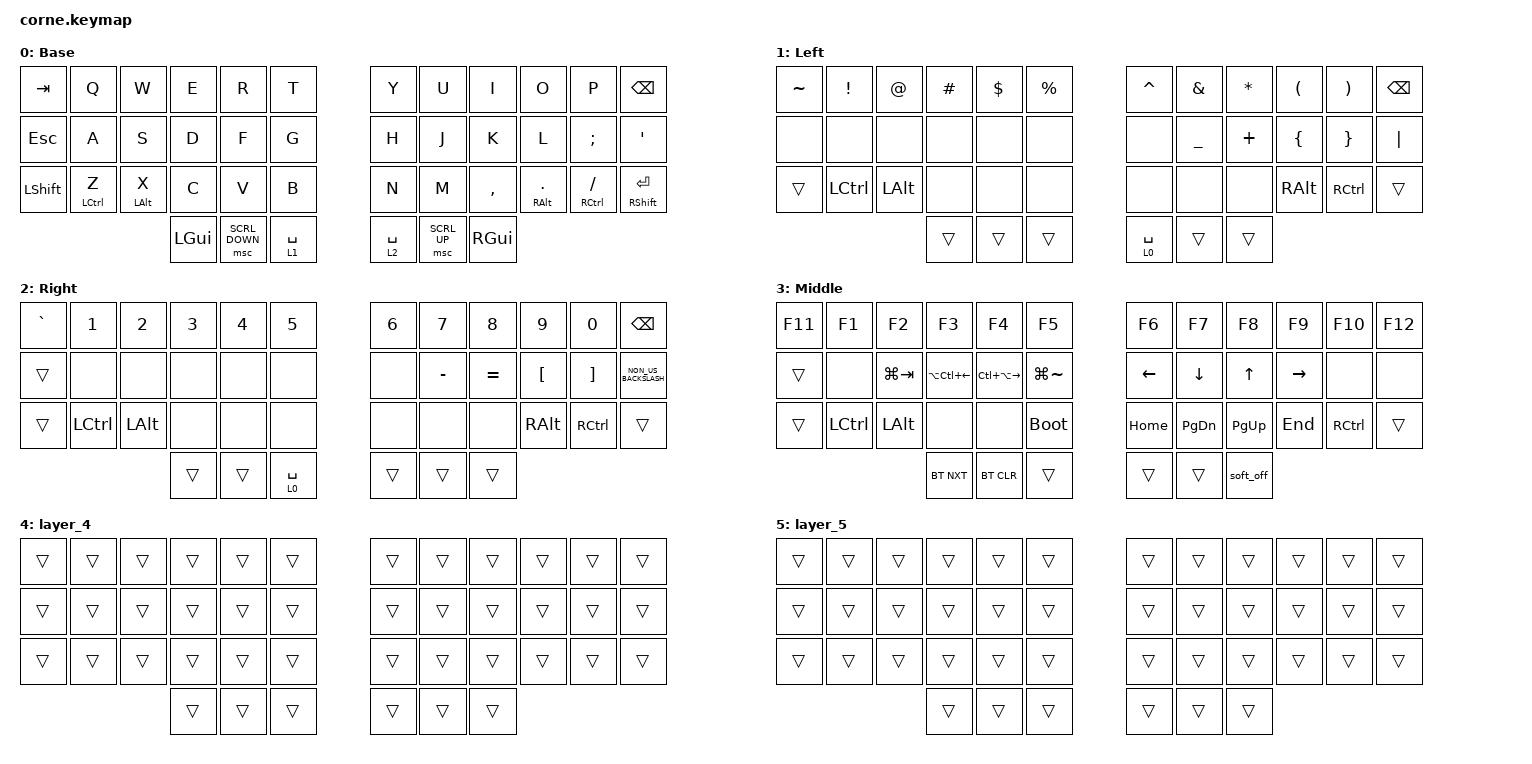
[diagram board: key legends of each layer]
/*
 * Copyright (c) 2020 The ZMK Contributors
 *
 * SPDX-License-Identifier: MIT
 */

#include <behaviors.dtsi>
#include <dt-bindings/zmk/bt.h>
#include <dt-bindings/zmk/keys.h>
#include <dt-bindings/zmk/pointing.h>

/ {
    behaviors {
        htp: hold_tap_preferred {
            compatible = "zmk,behavior-hold-tap";
            label = "HOLD_TAP_PREFERRED";
            bindings = <&kp>, <&kp>;

            #binding-cells = <2>;
            flavor = "tap-preferred";
            hold-while-undecided;
            tapping-term-ms = <200>;
        };
    };

    keymap {
        compatible = "zmk,keymap";

        default_layer {
            // -------------------------------------------------        -------------------------------------------------
            // |  TAB  |   Q   |   W   |   E   |   R   |   T   |        |   Y   |   U   |   I   |   O   |   P   | BKSP  |
            // |  ESC  |   A   |   S   |   D   |   F   |   G   |        |   H   |   J   |   K   |   L   |   ;   |   '   |
            // |  SFT  |CTRL/Z | ALT/X |   C   |   V   |   B   |        |   N   |   M   |   ,   | ALT/. |CTRL/\ |SFT/RET|
            //                |  LGUI  | SCRL_DOWN | LT1/SPACE |        | LT2/SPACE | SCRL_UP | RGUI |

            display-name = "Base";
            bindings = <
&kp TAB    &kp Q         &kp W            &kp E         &kp R           &kp T          &kp Y        &kp U         &kp I          &kp O                  &kp P             &kp BSPC
&kp ESC    &kp A         &kp S            &kp D         &kp F           &kp G          &kp H        &kp J         &kp K          &kp L                  &kp SEMI          &kp SQT
&kp LSHFT  &htp LCTRL Z  &htp LEFT_ALT X  &kp C         &kp V           &kp B          &kp N        &kp M         &kp COMMA      &htp RIGHT_ALT PERIOD  &htp RCTRL SLASH  &mt RIGHT_SHIFT RET
                                          &kp LEFT_GUI  &msc SCRL_DOWN  &lt 1 SPACE    &lt 2 SPACE  &msc SCRL_UP  &kp RIGHT_GUI
            >;
        };

        left_layer {
            // -------------------------------------------------        -------------------------------------------------
            // |  `~   |   !   |   @   |   #   |   $   |   %   |        |   ^   |   &   |   *   |   (   |   )   | BKSP  |
            // |       |       |       |       |       |       |        |       |   _   |   +   |   {   |   }   |  `|`  |
            // | TRANS | CTRL  |  ALT  |       |       |       |        |       |       |       |  ALT  | CTRL  | TRANS |
            //                         | TRANS | TRANS | TRANS |        | LT0/SPACE | TRANS | TRANS |

            display-name = "Left";
            bindings = <
&kp TILDE  &kp EXCL   &kp AT        &kp HASH  &kp DLLR  &kp PRCNT    &kp CARET    &kp AMPS   &kp ASTERISK  &kp LPAR          &kp RPAR           &kp BSPC
&none      &none      &none         &none     &none     &none        &none        &kp UNDER  &kp PLUS      &kp LEFT_BRACE    &kp RIGHT_BRACE    &kp PIPE
&trans     &kp LCTRL  &kp LEFT_ALT  &none     &none     &none        &none        &none      &none         &kp RIGHT_ALT     &kp RCTRL          &trans
                                    &trans    &trans    &trans       &lt 0 SPACE  &trans     &trans
            >;
        };

        right_layer {
            // -------------------------------------------------        -------------------------------------------------
            // |   `   |   1   |   2   |   3   |   4   |   5   |        |   6   |   7   |   8   |   9   |   0   | BKSP  |
            // | TRANS |       |       |       |       |       |        |       |   -   |   =   |   [   |   ]   |   \   |
            // | TRANS | CTRL  |  ALT  |       |       |       |        |       |       |       |  ALT  | CTRL  | TRANS |
            //                     | TRANS | TRANS | LT0/SPACE |        | TRANS | TRANS | TRANS |

            display-name = "Right";
            bindings = <
&kp GRAVE  &kp N1     &kp N2        &kp N3  &kp N4  &kp N5         &kp N6  &kp N7     &kp N8    &kp N9            &kp N0             &kp BSPC
&trans     &none      &none         &none   &none   &none          &none   &kp MINUS  &kp EQUAL &kp LEFT_BRACKET  &kp RIGHT_BRACKET  &kp NON_US_BACKSLASH
&trans     &kp LCTRL  &kp LEFT_ALT  &none   &none   &none          &none   &none      &none     &kp RIGHT_ALT     &kp RCTRL          &trans
                                    &trans  &trans  &lt 0 SPACE    &trans  &trans     &trans
            >;
        };

        middle_layer {
            // -------------------------------------------------             -------------------------------------------------
            // |  F11  |  F1   |  F2   |  F3   |  F4   |  F5   |             |  F6   |  F7   |  F8   |  F9   |  F10  |  F12  |
            // | TRANS |       |GUI(TAB)|C(A(LEFT))|C(A(RIGHT))|GUI(~)|       | LEFT  | DOWN  |  UP   | RIGHT |       |       |
            // | TRANS | CTRL  |  ALT  |       |       |BOOTLOADER|          | HOME  | PG_DN | PG_UP |  END  | CTRL  | TRANS |
            //                         |BT_NXT |BT_CLR | TRANS |             | TRANS | TRANS |SOFT_OFF|

            display-name = "Middle";
            bindings = <
&kp F11  &kp F1     &kp F2        &kp F3            &kp F4             &kp F5           &kp F6    &kp F7    &kp F8     &kp F9         &kp F10    &kp F12
&trans   &none      &kp LG(TAB)   &kp LA(LC(LEFT))  &kp LC(LA(RIGHT))  &kp LG(TILDE)    &kp LEFT  &kp DOWN  &kp UP     &kp RIGHT      &none      &none
&trans   &kp LCTRL  &kp LEFT_ALT  &none             &none              &bootloader      &kp HOME  &kp PG_DN &kp PG_UP  &kp END        &kp RCTRL  &trans
                                  &bt BT_NXT        &bt BT_CLR         &trans           &trans    &trans    &soft_off
            >;
        };

// Unused reserved

        layer_4 {
            bindings = <
&trans  &trans  &trans  &trans  &trans  &trans    &trans  &trans  &trans  &trans  &trans  &trans
&trans  &trans  &trans  &trans  &trans  &trans    &trans  &trans  &trans  &trans  &trans  &trans
&trans  &trans  &trans  &trans  &trans  &trans    &trans  &trans  &trans  &trans  &trans  &trans
                        &trans  &trans  &trans    &trans  &trans  &trans
            >;
        };

        layer_5 {
            bindings = <
&trans  &trans  &trans  &trans  &trans  &trans    &trans  &trans  &trans  &trans  &trans  &trans
&trans  &trans  &trans  &trans  &trans  &trans    &trans  &trans  &trans  &trans  &trans  &trans
&trans  &trans  &trans  &trans  &trans  &trans    &trans  &trans  &trans  &trans  &trans  &trans
                        &trans  &trans  &trans    &trans  &trans  &trans
            >;
        };
    };
};
